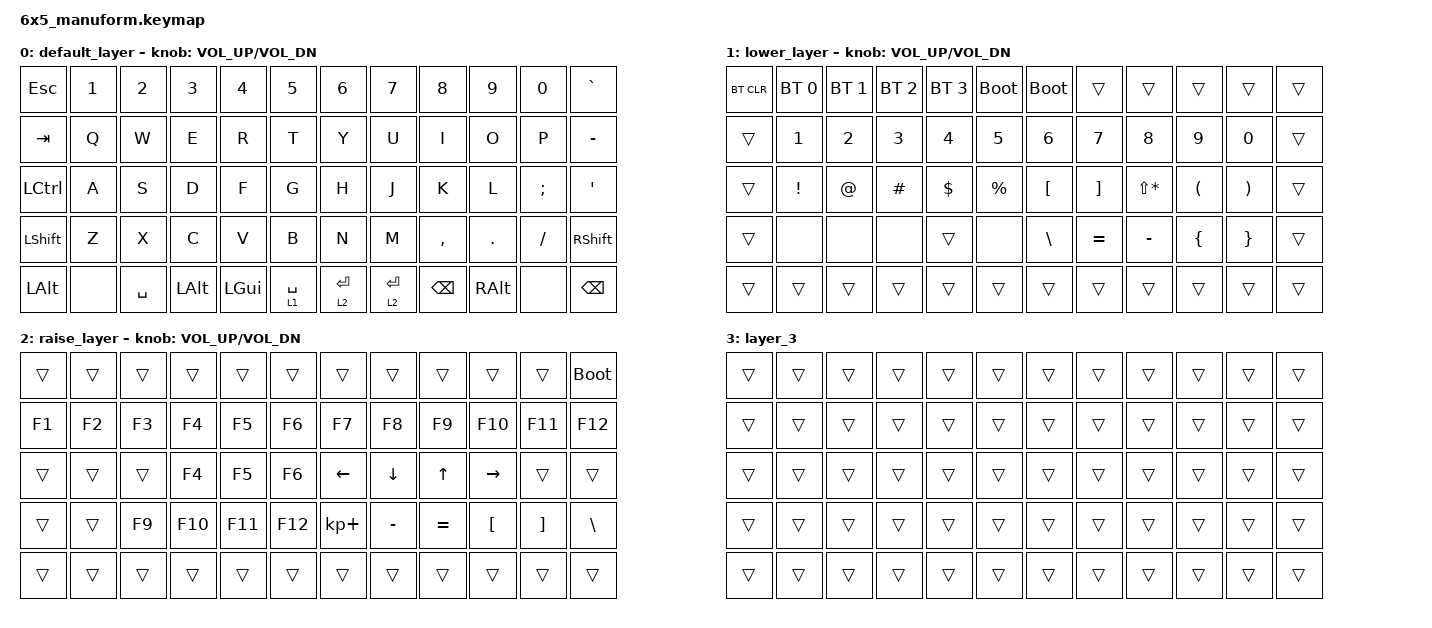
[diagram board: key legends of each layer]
/*
 * Copyright (c) 2020 The ZMK Contributors
 *
 * SPDX-License-Identifier: MIT
 */

#include <behaviors.dtsi>
#include <dt-bindings/zmk/bt.h>
#include <dt-bindings/zmk/keys.h>

/ {
    keymap {
        compatible = "zmk,keymap";

        default_layer {
            // ------------------------------------------------------------------------------------------------------------
            // |  ESC   |  1  |  2  |  3   |  4   |  5   |                    |  6   |  7    |  8    |  9   |   0   |   `   |
            // |  TAB   |  Q  |  W  |  E   |  R   |  T   |                    |  Y   |  U    |  I    |  O   |   P   |   -   |
            // |  CTRL  |  A  |  S  |  D   |  F   |  G   |                    |  H   |  J    |  K    |  L   |   ;   |   '   |
            // | SHIFT  |  Z  |  X  |  C   |  V   |  B   |                    |  N   |  M    |  ,    |  .   |   /   | SHIFT |
            // |    2   |  2  | f   | 6    | 4    | 1    |                    | 2    | 1     | w     | s    | n     |  a    |

            bindings = <
&kp ESC           &kp N1  &kp N2     &kp N3        &kp N4        &kp N5       &kp N6       &kp N7     &kp N8         &kp N9         &kp N0    &kp GRAVE
&kp TAB           &kp Q   &kp W      &kp E         &kp R         &kp T        &kp Y        &kp U      &kp I          &kp O          &kp P     &kp MINUS
&kp LEFT_CONTROL  &kp A   &kp S      &kp D         &kp F         &kp G        &kp H        &kp J      &kp K          &kp L          &kp SEMI  &kp SQT
&kp LEFT_SHIFT    &kp Z   &kp X      &kp C         &kp V         &kp B        &kp N        &kp M      &kp COMMA      &kp DOT        &kp FSLH  &kp RIGHT_SHIFT
&kp LEFT_ALT      &none   &kp SPACE  &kp LEFT_ALT  &kp LEFT_GUI  &lt 1 SPACE  &lt 2 ENTER  &lt 2 RET  &kp BACKSPACE  &kp RIGHT_ALT  &none     &kp BACKSPACE
            >;

            sensor-bindings = <&inc_dec_kp C_VOL_UP C_VOL_DN>;
        };

        lower_layer {
            // ------------------------------------------------------------------------------------------------------------
            // | BTCLR | BT1 | BT2 |  BT3 |  BT4 |  BT5 |                   |      |       |       |      |       |       |
            // |  F1   |  F2 |  F3 |  F4  |  F5  |  F6  |                   |  F7  |  F8   |  F9   |  F10 |  F11  |  F12  |
            // |   `   |  !  |  @  |  #   |  $   |  %   |                   |  ^   |  &    |  *    |  (   |   )   |   ~   |
            // |       |     |     |      |      |      |                   |      |  _    |  +    |  {   |   }   |  "|"  |
            // |       |     |     |      |      |      |                   |      |       |       |      |       |       |

            bindings = <
&bt BT_CLR  &bt BT_SEL 0  &bt BT_SEL 1  &bt BT_SEL 2  &bt BT_SEL 3  &bootloader  &bootloader       &trans             &trans        &trans    &trans    &trans
&trans      &kp N1        &kp N2        &kp N3        &kp N4        &kp N5       &kp N6            &kp N7             &kp N8        &kp N9    &kp N0    &trans
&trans      &kp EXCL      &kp AT        &kp HASH      &kp DOLLAR    &kp PRCNT    &kp LEFT_BRACKET  &kp RIGHT_BRACKET  &kp LS(STAR)  &kp LPAR  &kp RPAR  &trans
&trans      &none         &none         &none         &trans        &none        &kp BACKSLASH     &kp EQUAL          &kp MINUS     &kp LBRC  &kp RBRC  &trans
&trans      &trans        &trans        &trans        &trans        &trans       &trans            &trans             &trans        &trans    &trans    &trans
            >;

            sensor-bindings = <&inc_dec_kp C_VOL_UP C_VOL_DN>;
        };

        raise_layer {
            // ------------------------------------------------------------------------------------------------------------
            // |       |     |     |      |      |      |                   |      |       |       |      |       |       |
            // |   `   |  1  |  2  |  3   |  4   |  5   |                   |  6   |   7   |   8   |  9   |   0   |       |
            // |   F1  |  F2 |  F3 |  F4  |  F5  |  F6  |                   |      |   <-  |   v   |  ^   |  ->   |       |
            // |   F7  |  F8 |  F9 |  F10 |  F11 |  F12 |		             |  +   |   -   |   =   |  [   |   ]   |   \   |
            // |     |     |      |      |      |        |                   |       |      |       |       |      |       |

            bindings = <
&trans  &trans  &trans  &trans   &trans   &trans   &trans       &trans     &trans        &trans     &trans    &bootloader
&kp F1  &kp F2  &kp F3  &kp F4   &kp F5   &kp F6   &kp F7       &kp F8     &kp F9        &kp F10    &kp F11   &kp F12
&trans  &trans  &trans  &kp F4   &kp F5   &kp F6   &kp LEFT     &kp DOWN   &kp UP_ARROW  &kp RIGHT  &trans    &trans
&trans  &trans  &kp F9  &kp F10  &kp F11  &kp F12  &kp KP_PLUS  &kp MINUS  &kp EQUAL     &kp LBKT   &kp RBKT  &kp BSLH
&trans  &trans  &trans  &trans   &trans   &trans   &trans       &trans     &trans        &trans     &trans    &trans
            >;

            sensor-bindings = <&inc_dec_kp C_VOL_UP C_VOL_DN>;
        };

        layer_3 {
            bindings = <
&trans  &trans  &trans  &trans  &trans  &trans  &trans  &trans  &trans  &trans  &trans  &trans
&trans  &trans  &trans  &trans  &trans  &trans  &trans  &trans  &trans  &trans  &trans  &trans
&trans  &trans  &trans  &trans  &trans  &trans  &trans  &trans  &trans  &trans  &trans  &trans
&trans  &trans  &trans  &trans  &trans  &trans  &trans  &trans  &trans  &trans  &trans  &trans
&trans  &trans  &trans  &trans  &trans  &trans  &trans  &trans  &trans  &trans  &trans  &trans
            >;
        };
    };
};
